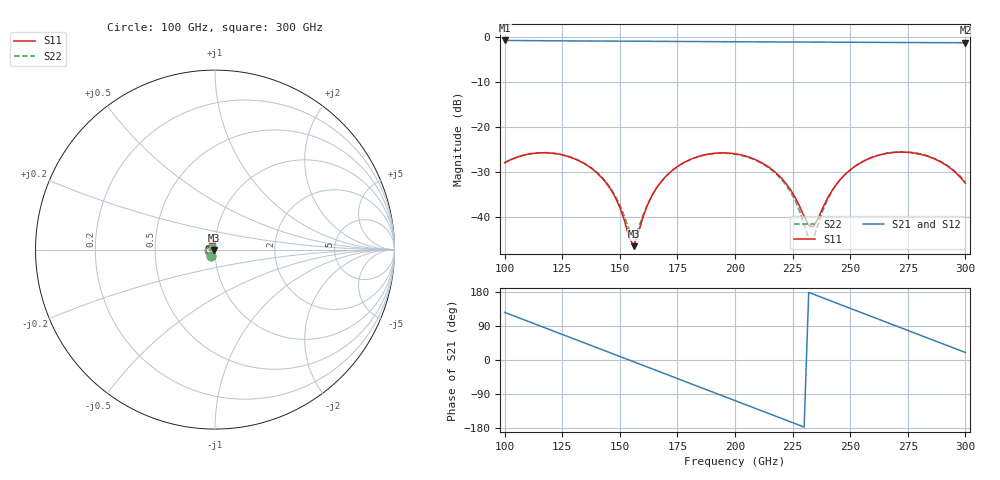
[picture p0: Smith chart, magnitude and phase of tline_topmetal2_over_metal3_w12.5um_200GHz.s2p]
#  GHZ S DB R 50
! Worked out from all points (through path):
!   101 points, 100 GHz to 300 GHz, reference 50 ohm
!   highest |S21| = -0.78 dB at 100 GHz (marker M1); lowest = -1.3 dB at 300 GHz (marker M2)
!   group delay of S21, straight-line fit = 6.47 ps
!   lowest |S11| = -46.4 dB at 156 GHz (marker M3), VSWR 1.01, Z = 49.5 - j0.137 ohm
!   |S11| at or under -10 dB: start of sweep to end of sweep
!   |S22| runs from -44.8 to -25.5 dB; largest |S21 - S12| = 1e-13
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100  -27.89 -125.2  -0.78 125.7  -0.78 125.7  -27.88 -125.4
116  -25.68 -161.6  -0.84 88.5  -0.84 88.5  -25.65 -161.3
124  -26.03 -179.6  -0.87 69.9  -0.87 69.9  -25.98 -179.0
134  -27.91 158.8  -0.89 46.6  -0.89 46.6  -27.82 159.9
146  -33.75 137.9  -0.92 18.7  -0.92 18.7  -33.48 140.7
156  -46.37 -163.3  -0.95 -4.6  -0.95 -4.6  -44.24 -168.0
162  -37.25 -112.6  -0.96 -18.6  -0.96 -18.6  -37.12 -118.8
168  -32.04 -116.9  -0.98 -32.6  -0.98 -32.6  -32.07 -120.5
184  -26.51 -147.4  -1.03 -69.9  -1.03 -69.9  -26.57 -149.5
200  -25.90 179.0  -1.07 -107.1  -1.07 -107.1  -25.97 176.9
212  -27.99 155.3  -1.10 -135.0  -1.10 -135.0  -28.13 152.5
220  -31.21 142.8  -1.12 -153.7  -1.12 -153.7  -31.49 138.6
226  -35.48 140.4  -1.13 -167.7  -1.13 -167.7  -36.15 133.9
232  -41.78 171.2  -1.14 178.3  -1.14 178.3  -44.67 168.1
234  -42.06 -163.0  -1.14 173.7  -1.14 173.7  -44.76 -153.8
240  -35.90 -126.9  -1.16 159.7  -1.16 159.7  -36.20 -118.1
246  -31.43 -128.1  -1.17 145.7  -1.17 145.7  -31.45 -122.6
258  -27.01 -147.6  -1.20 117.7  -1.20 117.7  -26.96 -144.2
268  -25.65 -167.6  -1.23 94.4  -1.23 94.4  -25.59 -164.6
282  -26.20 163.8  -1.26 61.7  -1.26 61.7  -26.12 166.7
292  -28.55 144.5  -1.28 38.4  -1.28 38.4  -28.43 147.9
300  -32.42 132.5  -1.29 19.8  -1.29 19.8  -32.19 137.1
